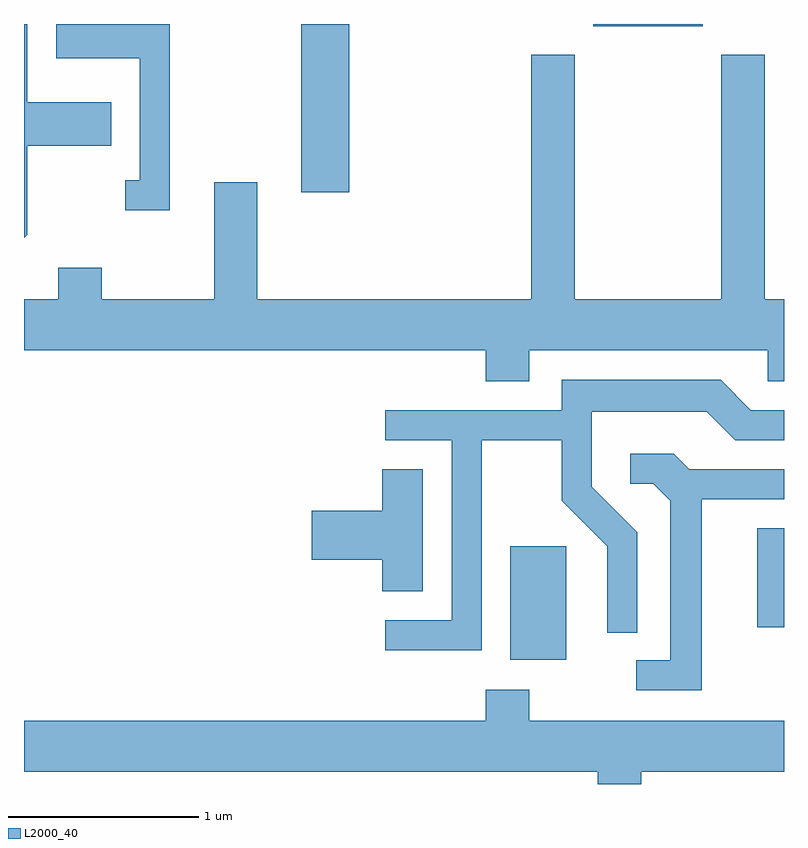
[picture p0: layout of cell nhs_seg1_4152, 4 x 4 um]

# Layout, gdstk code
import gdstk
lib = gdstk.Library(unit=1e-6, precision=1e-09)
def R(c, l, rs):  # rectangles x0, y0, x1, y1
    for r in rs: c.add(gdstk.rectangle(r[:2], r[2:], *l))
def P(c, l, *ps):  # polygons
    for p in ps: c.add(gdstk.Polygon(p, *l))
L2000_40 = (2000, 40)

nhs_seg1_4152 = lib.new_cell('nhs_seg1_4152')
R(nhs_seg1_4152, L2000_40, [(312.171,922.366,312.464,922.964), (313.471,922.536,313.611,923.059), (311.071,924.826,311.324,925.712), (312.606,925.701,313.184,925.712), (310.611,925.711,310.839,925.712)])
P(nhs_seg1_4152, L2000_40, [(309.629,924.604),(309.629,925.071),(310.069,925.071),(310.069,925.299),(309.629,925.299),(309.629,925.712),(309.611,925.712),(309.611,924.586)],
  [(310.379,925.712),(309.781,925.712),(309.781,925.531),(310.221,925.531),(310.221,924.889),(310.143,924.889),(310.143,924.731),(310.379,924.731)],
  [(312.269,923.996),(313.526,923.996),(313.526,923.831),(313.611,923.831),(313.611,924.264),(313.509,924.264),(313.509,925.549),(313.281,925.549),(313.281,924.264),(312.509,924.264),(312.509,925.549),(312.281,925.549),(312.281,924.264),(310.839,924.264),(310.839,924.879),(310.611,924.879),(310.611,924.264),(310.019,924.264),(310.019,924.429),(309.791,924.429),(309.791,924.264),(309.611,924.264),(309.611,923.996),(312.041,923.996),(312.041,923.831),(312.269,923.831)],
  [(312.019,923.521),(312.441,923.521),(312.441,923.204),(312.681,922.964),(312.681,922.508),(312.839,922.508),(312.839,923.037),(312.599,923.277),(312.599,923.671),(313.204,923.671),(313.354,923.521),(313.611,923.521),(313.611,923.679),(313.437,923.679),(313.277,923.839),(312.441,923.839),(312.441,923.679),(311.513,923.679),(311.513,923.521),(311.861,923.521),(311.861,922.574),(311.513,922.574),(311.513,922.416),(312.019,922.416)],
  [(313.179,923.211),(313.611,923.211),(313.611,923.369),(313.112,923.369),(313.032,923.449),(312.803,923.449),(312.803,923.291),(312.924,923.291),(313.011,923.204),(313.011,922.364),(312.833,922.364),(312.833,922.206),(313.179,922.206)],
  [(311.709,923.369),(311.496,923.369),(311.496,923.149),(311.126,923.149),(311.126,922.891),(311.496,922.891),(311.496,922.726),(311.709,922.726)],
  [(312.269,922.209),(312.041,922.209),(312.041,922.044),(309.611,922.044),(309.611,921.776),(312.631,921.776),(312.631,921.712),(312.859,921.712),(312.859,921.776),(313.611,921.776),(313.611,922.044),(312.269,922.044)])

lib.write_gds('nhs_seg1_4152.gds')
